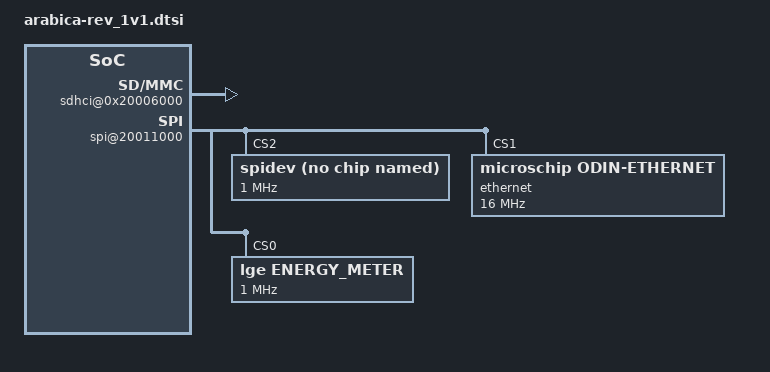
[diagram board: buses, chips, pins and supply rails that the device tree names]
/*
 * LG Electronics I2C for ODIN/Woden
 */

/ {

  connectivity {
        compatible = "simple-bus";
  		interrupt-parent = <&gic>;
   	    #address-cells = <2>;
   	    #size-cells = <2>;
		ranges;

/* sdio start */
		sdhci@0x20006000{
			compatible = "odin,sdio";
			reg = <0 0x20006000 0 0x2000>;
			clocks = <&sdio_sclk0>;
			interrupts = <0 4 0x4>;	/* 36 - 32 */
			sdclk = <200>;			/* 200Mhz, UHS104*/
			tuning_mode = <1>;		/* 0 : mode-1, 1 : mode-2, 2 : mode-3 */
		};
/* sdio end */

/* BCM4339 Wi-Fi Driver start */
		wlan@0{
			compatible = "odin,broadcom,bcm4339-wlan";
			power_gpio = <138>;		/* 112 + SMS_GPIO_26_EINT */
		};
/* BCM4339 Wi-Fi Driver end */

/* Odin Bluetooth RFKILL Driver start */
		bt@0{
			compatible ="odin,broadcom,bcm4339-bt";
			reset_gpio = <143>;		/* 112 + SMS_GPIO_31 */
			wakeup_gpio = <3>;		/* 0 + PERI_G0_GPIO_03_EINT */
			hostwake_gpio = <140>;	/* 112 + SMS_GPIO_28 */
		};
/* Odin Bluetooth RFKILL Driver end */
	};
	soc{
		compatible = "simple-bus";
  		interrupt-parent = <&gic>;
		#address-cells = <2>;
		#size-cells = <2>;
		ranges;
		spi@20011000 {
			compatible = "octasic,odin-spi";
			reg = <0 0x20011000 0 0x1000>;
			interrupts = <0 9 0x4>;
			clocks = <&spi_sclk0>;
			id = <0>;
			#address-cells = <1>;
			#size-cells = <0>;

			spidev@0{
				compatible = "spidev";
				spi-max-frequency = <1000000>;
				reg = <2>;
				spi-cpha;
				spi-cpol;
			};

			ethernet@1{
				compatible = "microschip,odin-ethernet";
				spi-max-frequency = <16000000>;
				spi_cs_gpio = <233>;
				reg = <1>;
				irq_gpio = <199>;
			};

			energy_meter@2{
				compatible = "lge,energy_meter";
				spi-max-frequency = <1000000>;
				reg = <0>;
			};
		};
	};
};
